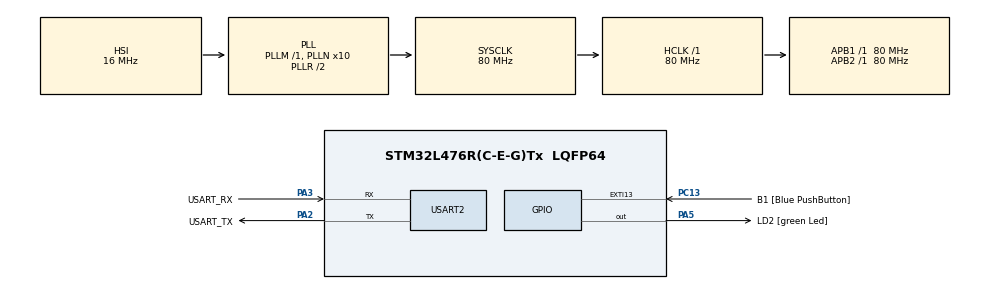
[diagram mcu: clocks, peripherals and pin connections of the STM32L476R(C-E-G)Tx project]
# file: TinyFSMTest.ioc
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Mcu.Family=STM32L4
Mcu.Name=STM32L476R(C-E-G)Tx
Mcu.Package=LQFP64
NVIC.EXTI15_10_IRQn=true\:0\:0\:false\:false\:true\:true\:true
NVIC.PriorityGroup=NVIC_PRIORITYGROUP_4
NVIC.TIM2_IRQn=true\:0\:0\:false\:false\:true\:true\:true
PA13\ (JTMS-SWDIO).GPIO_Label=TMS
PA13\ (JTMS-SWDIO).Mode=Serial_Wire
PA13\ (JTMS-SWDIO).Signal=SYS_JTMS-SWDIO
PA14\ (JTCK-SWCLK).GPIO_Label=TCK
PA14\ (JTCK-SWCLK).Mode=Serial_Wire
PA14\ (JTCK-SWCLK).Signal=SYS_JTCK-SWCLK
PA2.GPIO_Label=USART_TX
PA2.GPIO_Mode=GPIO_MODE_AF_PP
PA2.GPIO_PuPd=GPIO_NOPULL
PA2.GPIO_Speed=GPIO_SPEED_FREQ_VERY_HIGH
PA2.Mode=Asynchronous
PA2.Signal=USART2_TX
PA3.GPIO_Label=USART_RX
PA3.GPIO_Mode=GPIO_MODE_AF_PP
PA3.GPIO_PuPd=GPIO_NOPULL
PA3.GPIO_Speed=GPIO_SPEED_FREQ_VERY_HIGH
PA3.Mode=Asynchronous
PA3.Signal=USART2_RX
PA5.GPIO_Label=LD2 [green Led]
PA5.GPIO_ModeDefaultOutputPP=GPIO_MODE_OUTPUT_PP
PA5.GPIO_PuPd=GPIO_NOPULL
PA5.GPIO_Speed=GPIO_SPEED_FREQ_LOW
PA5.Signal=GPIO_Output
PB3\ (JTDO-TRACESWO).GPIO_Label=SWO
PB3\ (JTDO-TRACESWO).Signal=SYS_JTDO-SWO
PC13.GPIO_Label=B1 [Blue PushButton]
PC13.GPIO_ModeDefaultEXTI=GPIO_MODE_IT_FALLING
PC13.GPIO_PuPd=GPIO_NOPULL
PC13.Signal=GPXTI13
PC14-OSC32_IN\ (PC14).Mode=LSE-External-Oscillator
PC14-OSC32_IN\ (PC14).Signal=RCC_OSC32_IN
PC15-OSC32_OUT\ (PC15).Mode=LSE-External-Oscillator
PC15-OSC32_OUT\ (PC15).Signal=RCC_OSC32_OUT
PH0-OSC_IN\ (PH0).Signal=RCC_OSC_IN
PH1-OSC_OUT\ (PH1).Signal=RCC_OSC_OUT
ProjectManager.HeapSize=0x200
ProjectManager.StackSize=0x400
ProjectManager.TargetToolchain=STM32CubeIDE
RCC.ADCFreq_Value=64000000
RCC.AHBFreq_Value=80000000
RCC.APB1Freq_Value=80000000
RCC.APB1TimFreq_Value=80000000
RCC.APB2Freq_Value=80000000
RCC.APB2TimFreq_Value=80000000
RCC.CortexFreq_Value=80000000
RCC.HCLKFreq_Value=80000000
RCC.HSE_VALUE=8000000
RCC.HSI_VALUE=16000000
RCC.MSI_VALUE=4000000
RCC.PLLN=10
RCC.PLLSourceVirtual=RCC_PLLSOURCE_HSI
RCC.PREFETCH_ENABLE=1
RCC.SYSCLKFreq_VALUE=80000000
RCC.SYSCLKSource=RCC_SYSCLKSOURCE_PLLCLK
RCC.USBFreq_Value=64000000
RCC.VCOOutputFreq_Value=160000000
TIM2.AutoReloadPreload=TIM_AUTORELOAD_PRELOAD_ENABLE
TIM2.ClockDivision=TIM_CLOCKDIVISION_DIV2
TIM2.Period=2
TIM2.Prescaler=40000
USART2.VirtualMode-Asynchronous=VM_ASYNC
VP_TIM2_VS_ClockSourceINT.Mode=Internal
board=NUCLEO-L476RG

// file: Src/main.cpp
/* USER CODE BEGIN Header */
/**
 ******************************************************************************
 * @file           : main.c
 * @brief          : Main program body
 ******************************************************************************
 * @attention
 *
 * <h2><center>&copy; Copyright (c) 2019 STMicroelectronics.
 * All rights reserved.</center></h2>
 *
 * This software component is licensed by ST under BSD 3-Clause license,
 * the "License"; You may not use this file except in compliance with the
 * License. You may obtain a copy of the License at:
 *                        opensource.org/licenses/BSD-3-Clause
 *
 ******************************************************************************
 */
/* USER CODE END Header */

#include "main.h"
#include "usart.h"
#include "gpio.h"
#include "tim.h"

/* USER CODE BEGIN Includes */
#include "tinyfsm.hpp"

/* USER CODE END Includes */

void SystemClock_Config(void);
/* USER CODE BEGIN PFP */
int timer = 0;
/* USER CODE END PFP */

/* USER CODE BEGIN 0 */

int __io_putchar(int ch) {
	uint8_t c[1];
	c[0] = ch & 0x00FF;
	HAL_UART_Transmit(&huart2, &*c, 1, 10);
	return ch;
}

/* TinyFSM infrastructure */
struct Off;

struct Toggle: tinyfsm::Event {
};

struct TimerPulse: tinyfsm::Event {
};

struct Switch: tinyfsm::Fsm<Switch> {
	virtual void react(Toggle const &) {

	};

	virtual void react(TimerPulse const &) {};

	// alternative: enforce handling of Toggle in all states (pure virtual)
	//virtual void react(Toggle const &) = 0;

	virtual void entry(void) {
	}; /* entry actions in some states */

	void exit(void) {
	};
	/* no exit actions */

	// alternative: enforce entry actions in all states (pure virtual)
	//virtual void entry(void) = 0;
};

struct Blink: Switch {
	void entry() override {

	};

	void react(Toggle const &) override {
		transit<Off>();
	};

	void react(TimerPulse const &) {
		 HAL_GPIO_TogglePin(LD2_GPIO_Port, LD2_Pin);
	}
};

struct On: Switch {
	void entry() override { HAL_GPIO_WritePin(LD2_GPIO_Port, LD2_Pin, GPIO_PIN_SET); };

	void react(Toggle const &) override { transit<Blink>();};
};

struct Off: Switch {
	void entry() override {	HAL_GPIO_WritePin(LD2_GPIO_Port, LD2_Pin, GPIO_PIN_RESET); };

	void react(Toggle const &) override { transit<On>();};
};

FSM_INITIAL_STATE(Switch, Off);

using fsm_handle = Switch;

Toggle toggle;

void HAL_GPIO_EXTI_Callback(uint16_t GPIO_Pin) {
	if (GPIO_Pin == GPIO_PIN_13) {
		fsm_handle::dispatch(toggle);
	}
}

void HAL_TIM_PeriodElapsedCallback(TIM_HandleTypeDef *htim14)
{
	fsm_handle::dispatch(TimerPulse());
}
/* USER CODE END 0 */

int main(void) {
	/* USER CODE BEGIN 1 */
	fsm_handle::start();
	/* USER CODE END 1 */

	/* MCU Configuration--------------------------------------------------------*/

	/* Reset of all peripherals, Initializes the Flash interface and the Systick. */
	HAL_Init();

	/* Configure the system clock */
	SystemClock_Config();

	/* Initialize all configured peripherals */
	MX_GPIO_Init();
	MX_USART2_UART_Init();
	MX_TIM2_Init();
	/* USER CODE BEGIN 2 */
	HAL_TIM_Base_Start_IT(&htim2);
	/* USER CODE END 2 */

	/* Infinite loop */
	while (1) {
	}
}

void SystemClock_Config(void) {
	RCC_OscInitTypeDef RCC_OscInitStruct = { 0 };
	RCC_ClkInitTypeDef RCC_ClkInitStruct = { 0 };
	RCC_PeriphCLKInitTypeDef PeriphClkInit = { 0 };

	/** Initializes the CPU, AHB and APB busses clocks
	 */
	RCC_OscInitStruct.OscillatorType = RCC_OSCILLATORTYPE_HSI;
	RCC_OscInitStruct.HSIState = RCC_HSI_ON;
	RCC_OscInitStruct.HSICalibrationValue = RCC_HSICALIBRATION_DEFAULT;
	RCC_OscInitStruct.PLL.PLLState = RCC_PLL_ON;
	RCC_OscInitStruct.PLL.PLLSource = RCC_PLLSOURCE_HSI;
	RCC_OscInitStruct.PLL.PLLM = 1;
	RCC_OscInitStruct.PLL.PLLN = 10;
	RCC_OscInitStruct.PLL.PLLP = RCC_PLLP_DIV7;
	RCC_OscInitStruct.PLL.PLLQ = RCC_PLLQ_DIV2;
	RCC_OscInitStruct.PLL.PLLR = RCC_PLLR_DIV2;
	if (HAL_RCC_OscConfig(&RCC_OscInitStruct) != HAL_OK) {
		Error_Handler();
	}
	/** Initializes the CPU, AHB and APB busses clocks
	 */
	RCC_ClkInitStruct.ClockType = RCC_CLOCKTYPE_HCLK | RCC_CLOCKTYPE_SYSCLK | RCC_CLOCKTYPE_PCLK1
			| RCC_CLOCKTYPE_PCLK2;
	RCC_ClkInitStruct.SYSCLKSource = RCC_SYSCLKSOURCE_PLLCLK;
	RCC_ClkInitStruct.AHBCLKDivider = RCC_SYSCLK_DIV1;
	RCC_ClkInitStruct.APB1CLKDivider = RCC_HCLK_DIV1;
	RCC_ClkInitStruct.APB2CLKDivider = RCC_HCLK_DIV1;

	if (HAL_RCC_ClockConfig(&RCC_ClkInitStruct, FLASH_LATENCY_4) != HAL_OK) {
		Error_Handler();
	}
	PeriphClkInit.PeriphClockSelection = RCC_PERIPHCLK_USART2;
	PeriphClkInit.Usart2ClockSelection = RCC_USART2CLKSOURCE_PCLK1;
	if (HAL_RCCEx_PeriphCLKConfig(&PeriphClkInit) != HAL_OK) {
		Error_Handler();
	}
	/** Configure the main internal regulator output voltage
	 */
	if (HAL_PWREx_ControlVoltageScaling(PWR_REGULATOR_VOLTAGE_SCALE1) != HAL_OK) {
		Error_Handler();
	}
}

void Error_Handler(void) {
}

/************************ (C) COPYRIGHT STMicroelectronics *****END OF FILE****/
